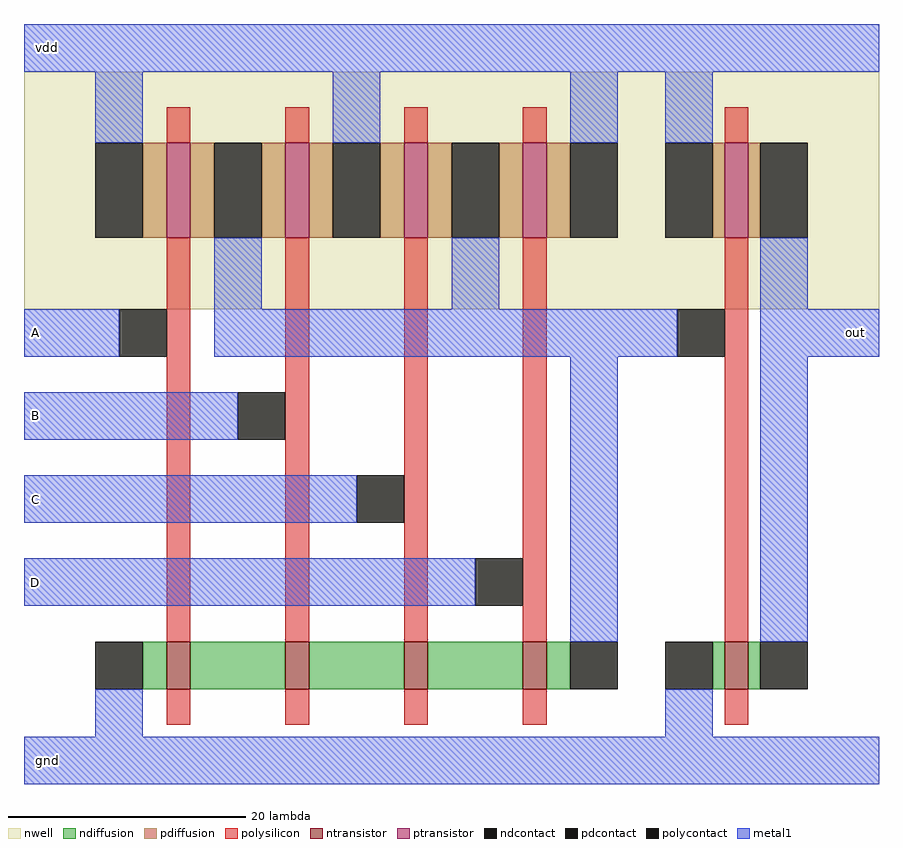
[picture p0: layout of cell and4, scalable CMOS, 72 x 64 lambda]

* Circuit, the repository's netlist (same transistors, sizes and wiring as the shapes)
* SPICE3 file created from and4.ext - technology: scmos

.option scale=0.09u

M1000 a_14_6# D a_34_n32# Gnd nfet w=4 l=2
+  ad=24 pd=20 as=32 ps=24
M1001 vdd B a_14_6# w_0_0# pfet w=8 l=2
+  ad=200 pd=114 as=128 ps=64
M1002 a_34_n32# C a_24_n32# Gnd nfet w=4 l=2
+  ad=0 pd=0 as=32 ps=24
M1003 a_24_n32# B a_14_n32# Gnd nfet w=4 l=2
+  ad=0 pd=0 as=32 ps=24
M1004 a_14_6# A vdd w_0_0# pfet w=8 l=2
+  ad=0 pd=0 as=0 ps=0
M1005 a_14_n32# A gnd Gnd nfet w=4 l=2
+  ad=0 pd=0 as=44 ps=38
M1006 vdd D a_14_6# w_0_0# pfet w=8 l=2
+  ad=0 pd=0 as=0 ps=0
M1007 out a_14_6# vdd w_0_0# pfet w=8 l=2
+  ad=40 pd=26 as=0 ps=0
M1008 a_14_6# C vdd w_0_0# pfet w=8 l=2
+  ad=0 pd=0 as=0 ps=0
M1009 out a_14_6# gnd Gnd nfet w=4 l=2
+  ad=20 pd=18 as=0 ps=0

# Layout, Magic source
magic
tech scmos
<< nwell >>
rect 0 0 72 20
<< ntransistor >>
rect 12 -32 14 -28
rect 22 -32 24 -28
rect 32 -32 34 -28
rect 42 -32 44 -28
rect 59 -32 61 -28
<< ptransistor >>
rect 12 6 14 14
rect 22 6 24 14
rect 32 6 34 14
rect 42 6 44 14
rect 59 6 61 14
<< ndiffusion >>
rect 10 -32 12 -28
rect 14 -32 22 -28
rect 24 -32 32 -28
rect 34 -32 42 -28
rect 44 -32 46 -28
rect 58 -32 59 -28
rect 61 -32 62 -28
<< pdiffusion >>
rect 10 6 12 14
rect 14 6 16 14
rect 20 6 22 14
rect 24 6 26 14
rect 30 6 32 14
rect 34 6 36 14
rect 40 6 42 14
rect 44 6 46 14
rect 58 6 59 14
rect 61 6 62 14
<< ndcontact >>
rect 6 -32 10 -28
rect 46 -32 50 -28
rect 54 -32 58 -28
rect 62 -32 66 -28
<< pdcontact >>
rect 6 6 10 14
rect 16 6 20 14
rect 26 6 30 14
rect 36 6 40 14
rect 46 6 50 14
rect 54 6 58 14
rect 62 6 66 14
<< polysilicon >>
rect 12 14 14 17
rect 22 14 24 17
rect 32 14 34 17
rect 42 14 44 17
rect 59 14 61 17
rect 12 -28 14 6
rect 22 -28 24 6
rect 32 -28 34 6
rect 42 -28 44 6
rect 59 -28 61 6
rect 12 -35 14 -32
rect 22 -35 24 -32
rect 32 -35 34 -32
rect 42 -35 44 -32
rect 59 -35 61 -32
<< polycontact >>
rect 8 -4 12 0
rect 18 -11 22 -7
rect 28 -18 32 -14
rect 38 -25 42 -21
rect 55 -4 59 0
<< metal1 >>
rect 0 20 72 24
rect 6 14 10 20
rect 26 14 30 20
rect 46 14 50 20
rect 54 14 58 20
rect 16 0 20 6
rect 36 0 40 6
rect 62 0 66 6
rect 0 -4 8 0
rect 16 -4 55 0
rect 62 -4 72 0
rect 0 -11 18 -7
rect 0 -18 28 -14
rect 0 -25 38 -21
rect 46 -28 50 -4
rect 62 -28 66 -4
rect 6 -36 10 -32
rect 54 -36 58 -32
rect 0 -40 72 -36
<< labels >>
rlabel metal1 1 -2 1 -2 3 A
rlabel metal1 1 -9 1 -9 3 B
rlabel metal1 2 22 2 22 4 vdd
rlabel metal1 2 -38 2 -38 2 gnd
rlabel metal1 1 -23 1 -23 3 D
rlabel metal1 70 -2 70 -2 7 out
rlabel metal1 1 -16 1 -16 3 C
<< end >>
